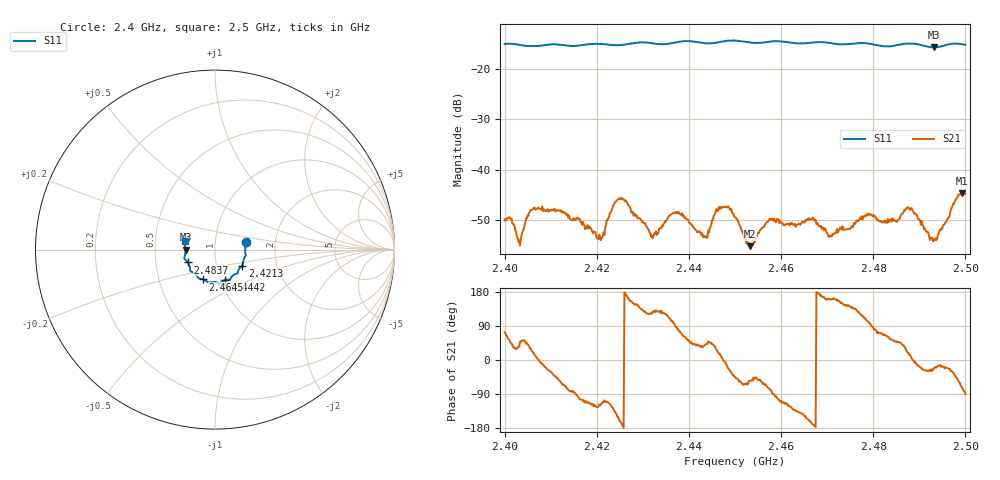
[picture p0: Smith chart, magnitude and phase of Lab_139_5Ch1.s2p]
# Hz S RI R 50
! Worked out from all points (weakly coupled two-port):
!   601 points, 2.4 GHz to 2.5 GHz, reference 50 ohm
!   highest |S21| = -44.60 dB at 2.4993 GHz (marker M1); lowest = -55.1 dB at 2.4533 GHz (marker M2)
!   lowest |S11| = -15.7 dB at 2.4932 GHz (marker M3), VSWR 1.39, Z = 36 - j0.0485 ohm
!   |S11| at or under -10 dB: start of sweep to end of sweep
!   S12 and S22 are empty: the file has one direction only
!   S11 on the Smith chart (normalised r, x): 2.4 GHz: 1.41, +0.12; 2.4213 GHz: 1.33, -0.25; 2.4442 GHz: 1.05, -0.37; 2.4645 GHz: 0.83, -0.29; 2.4837 GHz: 0.73, -0.11; 2.5 GHz: 0.71, +0.07
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2.4e9  0.1714 0.0401  0.000934 0.00303  0 0  0 0
2.403167e9  0.1712 0.0261  0.00164 0.00117  0 0  0 0
2.406167e9  0.1676 -0.00332  0.00382 0.00143  0 0  0 0
2.416667e9  0.1568 -0.0697  -0.000761 -0.00297  0 0  0 0
2.421333e9  0.1516 -0.0893  -0.000785 -0.00212  0 0  0 0
2.425e9  0.1342 -0.1072  -0.00501 -0.00173  0 0  0 0
2.433333e9  0.1085 -0.1385  -0.00145 0.00187  0 0  0 0
2.437333e9  0.0874 -0.1616  0.000195 0.00375  0 0  0 0
2.444167e9  0.0566 -0.1692  0.00163 0.00191  0 0  0 0
2.446333e9  0.0385 -0.179  0.00375 0.00131  0 0  0 0
2.45e9  0.0252 -0.189  0.00242 -0.00237  0 0  0 0
2.453333e9  0.00761 -0.1818  0.00102 -0.00143  0 0  0 0
2.457667e9  -0.0267 -0.1841  0.000576 -0.00317  0 0  0 0
2.4645e9  -0.0658 -0.166  -0.00235 -0.00189  0 0  0 0
2.466667e9  -0.0826 -0.1621  -0.00319 -0.00069  0 0  0 0
2.470667e9  -0.0953 -0.153  -0.00211 0.000805  0 0  0 0
2.483333e9  -0.1489 -0.0751  0.00146 0.00267  0 0  0 0
2.483667e9  -0.1509 -0.0718  0.00181 0.00268  0 0  0 0
2.488e9  -0.1715 -0.0482  0.00392 0.000925  0 0  0 0
2.493167e9  -0.1633 -0.000656  0.00188 -0.000787  0 0  0 0
2.499333e9  -0.1688 0.0464  0.00164 -0.00565  0 0  0 0
2.5e9  -0.1654 0.0505  0.000106 -0.0058  0 0  0 0
